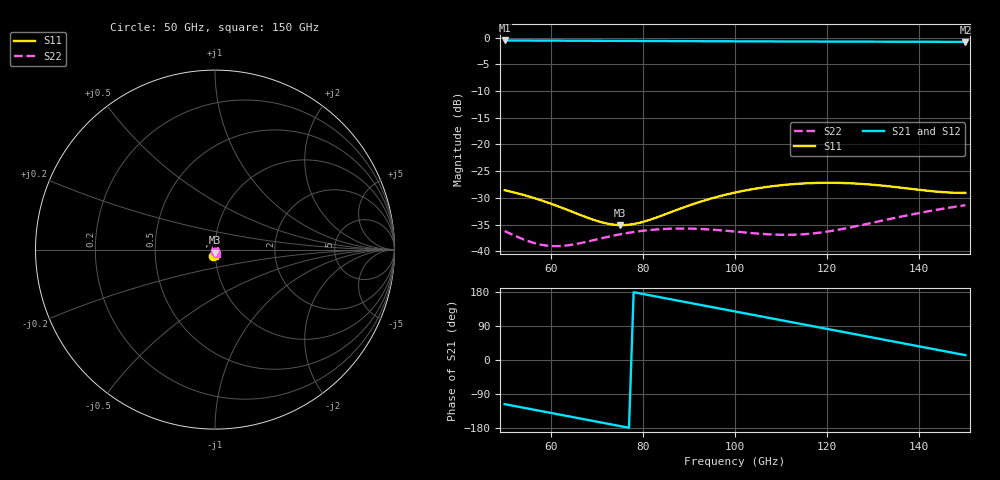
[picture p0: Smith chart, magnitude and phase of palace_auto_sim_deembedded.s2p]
! Created with skrf 1.11.0 (http://scikit-rf.org).
# GHz S DB R 50.0
!freq dBS11 angS11 dBS21 angS21 dBS12 angS12 dBS22 angS22
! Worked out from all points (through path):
!   101 points, 50 GHz to 150 GHz, reference 50 ohm
!   highest |S21| = -0.55 dB at 50 GHz (marker M1); lowest = -0.8 dB at 150 GHz (marker M2)
!   group delay of S21, straight-line fit = 6.41 ps
!   lowest |S11| = -35.1 dB at 75 GHz (marker M3), VSWR 1.04, Z = 49.8 - j1.74 ohm
!   |S11| at or under -10 dB: start of sweep to end of sweep
!   |S22| runs from -39.0 to -31.4 dB; largest |S21 - S12| = 1.1e-14
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50  -28.57 -105.5  -0.55 -116.5  -0.55 -116.5  -36.21 -94.9
55  -29.67 -112.1  -0.56 -128.0  -0.56 -128.0  -38.06 -92.6
59  -30.77 -115.6  -0.57 -137.3  -0.57 -137.3  -38.92 -87.2
63  -32.04 -116.7  -0.59 -146.5  -0.59 -146.5  -38.96 -81.9
67  -33.39 -114.3  -0.60 -155.7  -0.60 -155.7  -38.37 -79.9
71  -34.56 -107.6  -0.61 -165.0  -0.61 -165.0  -37.57 -82.2
75  -35.10 -96.9  -0.63 -174.2  -0.63 -174.2  -36.83 -88.1
79  -34.72 -85.8  -0.64 176.5  -0.64 176.5  -36.27 -96.8
84  -33.35 -76.4  -0.66 165.0  -0.66 165.0  -35.85 -110.7
92  -30.86 -72.9  -0.68 146.5  -0.68 146.5  -35.80 -138.5
100  -29.01 -76.8  -0.71 128.1  -0.71 128.1  -36.31 -172.9
105  -28.20 -80.7  -0.72 116.6  -0.72 116.6  -36.69 162.1
109  -27.73 -84.2  -0.73 107.4  -0.73 107.4  -36.89 140.3
113  -27.41 -87.8  -0.74 98.2  -0.74 98.2  -36.90 117.5
117  -27.23 -91.4  -0.75 89.0  -0.75 89.0  -36.65 94.2
121  -27.18 -94.8  -0.76 79.8  -0.76 79.8  -36.18 71.4
125  -27.27 -97.8  -0.76 70.5  -0.76 70.5  -35.53 49.5
129  -27.48 -100.2  -0.77 61.3  -0.77 61.3  -34.81 28.7
134  -27.90 -102.0  -0.78 49.8  -0.78 49.8  -33.88 4.0
142  -28.69 -100.8  -0.79 31.3  -0.79 31.3  -32.51 -33.0
146  -28.98 -98.1  -0.80 22.0  -0.80 22.0  -31.91 -50.9
150  -29.08 -94.3  -0.81 12.8  -0.81 12.8  -31.37 -68.5
